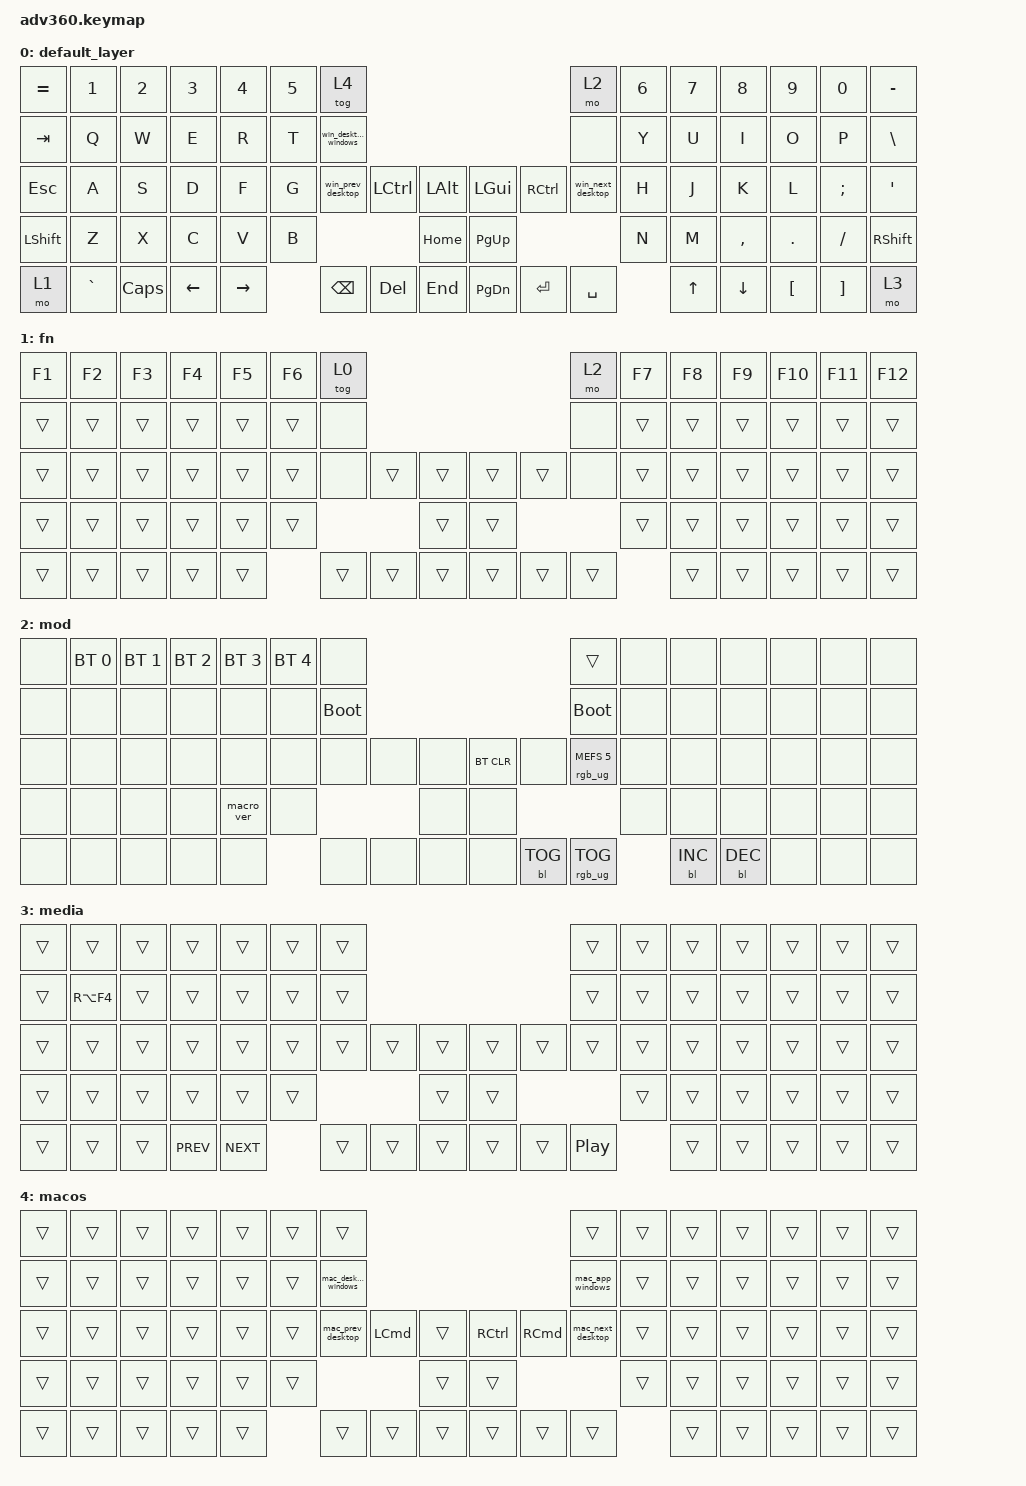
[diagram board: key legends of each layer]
#include <behaviors.dtsi>
#include <dt-bindings/zmk/backlight.h>
#include <dt-bindings/zmk/bt.h>
#include <dt-bindings/zmk/keys.h>
#include <dt-bindings/zmk/rgb.h>

/ {
    behaviors {
        #include "macros.dtsi"
      #include "version.dtsi"
      #ifndef VERSION_MACRO

        macro_ver: macro_ver {
            compatible = "zmk,behavior-macro";
            label = "macro_version";
            #binding-cells = <0>;
            bindings = <&kp RET>;
        };

        #endif

        mac_app_windows: mac_app_windows {
            compatible = "zmk,behavior-macro";
            #binding-cells = <0>;
            bindings = <&kp LC(DOWN)>;
            label = "MAC_APP_WINDOWS";
        };

        mac_desktop_windows: mac_desktop_windows {
            compatible = "zmk,behavior-macro";
            #binding-cells = <0>;
            bindings = <&kp LC(UP)>;
            label = "MAC_DESKTOP_WINDOWS";
        };

        mac_prev_desktop: mac_prev_desktop {
            compatible = "zmk,behavior-macro";
            #binding-cells = <0>;
            bindings = <&kp RC(LEFT)>;
            label = "MAC_PREV_DESKTOP";
        };

        mac_next_desktop: mac_next_desktop {
            compatible = "zmk,behavior-macro";
            #binding-cells = <0>;
            bindings = <&kp LC(RIGHT)>;
            label = "MAC_NEXT_DESKTOP";
        };

        win_desktop_windows: win_desktop_windows {
            compatible = "zmk,behavior-macro";
            #binding-cells = <0>;
            bindings = <&kp LG(TAB)>;
            label = "WIN_DESKTOP_WINDOWS";
        };

        win_prev_desktop: win_prev_desktop {
            compatible = "zmk,behavior-macro";
            #binding-cells = <0>;
            bindings = <&kp LG(LC(LEFT))>;
            label = "WIN_PREV_DESKTOP";
        };

        win_next_desktop: win_next_desktop {
            compatible = "zmk,behavior-macro";
            #binding-cells = <0>;
            bindings = <&kp LG(LC(RIGHT))>;
            label = "WIN_NEXT_DESKTOP";
        };

        hm: homerow_mods {
            compatible = "zmk,behavior-hold-tap";
            label = "HOMEROW_MODS";
            #binding-cells = <2>;
            tapping-term-ms = <200>;
            quick_tap_ms = <175>;
            flavor = "tap-preferred";
            bindings = <&kp>, <&kp>;
        };
    };

    macros {
    };

    keymap {
        compatible = "zmk,keymap";

        default_layer {
            bindings = <
&kp EQUAL  &kp N1     &kp N2    &kp N3    &kp N4     &kp N5  &tog 4                                                               &mo 2              &kp N6  &kp N7  &kp N8     &kp N9    &kp N0    &kp MINUS
&kp TAB    &kp Q      &kp W     &kp E     &kp R      &kp T   &win_desktop_windows                                                 &none              &kp Y   &kp U   &kp I      &kp O     &kp P     &kp BSLH
&kp ESC    &kp A      &kp S     &kp D     &kp F      &kp G   &win_prev_desktop     &kp LCTRL  &kp LALT      &kp LGUI   &kp RCTRL  &win_next_desktop  &kp H   &kp J   &kp K      &kp L     &kp SEMI  &kp SQT
&kp LSHFT  &kp Z      &kp X     &kp C     &kp V      &kp B                                    &kp HOME      &kp PG_UP                                &kp N   &kp M   &kp COMMA  &kp DOT   &kp FSLH  &kp RSHFT
&mo 1      &kp GRAVE  &kp CAPS  &kp LEFT  &kp RIGHT          &kp BSPC              &kp DEL    &kp END       &kp PG_DN  &kp ENTER  &kp SPACE                  &kp UP  &kp DOWN   &kp LBKT  &kp RBKT  &mo 3
            >;
        };

        fn {
            bindings = <
&kp F1  &kp F2  &kp F3  &kp F4  &kp F5  &kp F6  &tog 0                                      &mo 2   &kp F7  &kp F8  &kp F9  &kp F10  &kp F11  &kp F12
&trans  &trans  &trans  &trans  &trans  &trans  &none                                       &none   &trans  &trans  &trans  &trans   &trans   &trans
&trans  &trans  &trans  &trans  &trans  &trans  &none   &trans  &trans      &trans  &trans  &none   &trans  &trans  &trans  &trans   &trans   &trans
&trans  &trans  &trans  &trans  &trans  &trans                  &trans      &trans                  &trans  &trans  &trans  &trans   &trans   &trans
&trans  &trans  &trans  &trans  &trans          &trans  &trans  &trans      &trans  &trans  &trans          &trans  &trans  &trans   &trans   &trans
            >;
        };

        mod {
            bindings = <
&none  &bt BT_SEL 0  &bt BT_SEL 1  &bt BT_SEL 2  &bt BT_SEL 3  &bt BT_SEL 4  &none                                                  &trans                  &none  &none       &none       &none  &none  &none
&none  &none         &none         &none         &none         &none         &bootloader                                            &bootloader             &none  &none       &none       &none  &none  &none
&none  &none         &none         &none         &none         &none         &none        &none  &none      &bt BT_CLR  &none       &rgb_ug RGB_MEFS_CMD 5  &none  &none       &none       &none  &none  &none
&none  &none         &none         &none         &macro_ver    &none                             &none      &none                                           &none  &none       &none       &none  &none  &none
&none  &none         &none         &none         &none                       &none        &none  &none      &none       &bl BL_TOG  &rgb_ug RGB_TOG                &bl BL_INC  &bl BL_DEC  &none  &none  &none
            >;
        };

        media {
            bindings = <
&trans  &trans      &trans  &trans      &trans      &trans  &trans                                      &trans            &trans  &trans  &trans  &trans  &trans  &trans
&trans  &kp RA(F4)  &trans  &trans      &trans      &trans  &trans                                      &trans            &trans  &trans  &trans  &trans  &trans  &trans
&trans  &trans      &trans  &trans      &trans      &trans  &trans  &trans  &trans      &trans  &trans  &trans            &trans  &trans  &trans  &trans  &trans  &trans
&trans  &trans      &trans  &trans      &trans      &trans                  &trans      &trans                            &trans  &trans  &trans  &trans  &trans  &trans
&trans  &trans      &trans  &kp C_PREV  &kp C_NEXT          &trans  &trans  &trans      &trans  &trans  &kp C_PLAY_PAUSE          &trans  &trans  &trans  &trans  &trans
            >;
        };

        macos {
            bindings = <
&trans  &trans  &trans  &trans  &trans  &trans  &trans                                                                            &trans             &trans  &trans  &trans  &trans  &trans  &trans
&trans  &trans  &trans  &trans  &trans  &trans  &mac_desktop_windows                                                              &mac_app_windows   &trans  &trans  &trans  &trans  &trans  &trans
&trans  &trans  &trans  &trans  &trans  &trans  &mac_prev_desktop     &kp LEFT_COMMAND  &trans      &kp RCTRL  &kp RIGHT_COMMAND  &mac_next_desktop  &trans  &trans  &trans  &trans  &trans  &trans
&trans  &trans  &trans  &trans  &trans  &trans                                          &trans      &trans                                           &trans  &trans  &trans  &trans  &trans  &trans
&trans  &trans  &trans  &trans  &trans          &trans                &trans            &trans      &trans     &trans             &trans                     &trans  &trans  &trans  &trans  &trans
            >;
        };
    };
};
